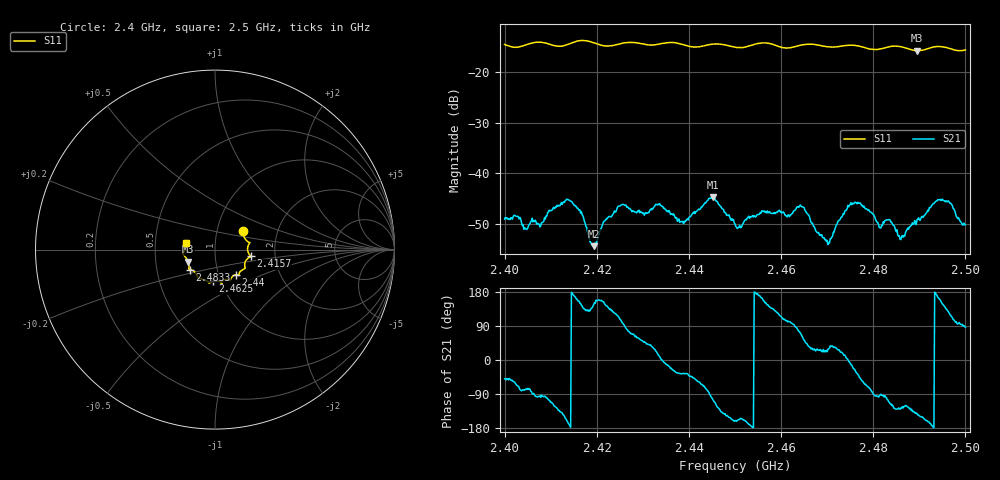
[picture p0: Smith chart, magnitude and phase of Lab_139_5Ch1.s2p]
# Hz S RI R 50
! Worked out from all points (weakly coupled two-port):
!   601 points, 2.4 GHz to 2.5 GHz, reference 50 ohm
!   highest |S21| = -44.72 dB at 2.4452 GHz (marker M1); lowest = -54.4 dB at 2.4193 GHz (marker M2)
!   lowest |S11| = -15.7 dB at 2.4895 GHz (marker M3), VSWR 1.39, Z = 36.7 - j5.09 ohm
!   |S11| at or under -10 dB: start of sweep to end of sweep
!   S12 and S22 are empty: the file has one direction only
!   S11 on the Smith chart (normalised r, x): 2.4 GHz: 1.33, +0.29; 2.4157 GHz: 1.49, -0.12; 2.44 GHz: 1.20, -0.35; 2.4625 GHz: 0.92, -0.34; 2.4833 GHz: 0.74, -0.17; 2.5 GHz: 0.72, +0.06
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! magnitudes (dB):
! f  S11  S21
! 2.4 GHz  -14.5  -49.1
! 2.4047 GHz  -14.6  -51.1
! 2.4133 GHz  -14.6  -45.3
! 2.4157 GHz  -13.8  -46.9
! 2.4167 GHz  -13.7  -47.6
! 2.4193 GHz  -14.1  -54.4
! 2.425 GHz  -14.3  -46.5
! 2.4333 GHz  -14.4  -46.1
! 2.44 GHz  -14.8  -48.8
! 2.4452 GHz  -14.4  -44.7
! 2.45 GHz  -15.0  -50.1
! 2.4625 GHz  -15.0  -48.0
! 2.4645 GHz  -14.6  -46.6
! 2.4667 GHz  -14.4  -49.9
! 2.47 GHz  -14.9  -53.3
! 2.4757 GHz  -14.6  -46.0
! 2.4815 GHz  -15.4  -50.8
! 2.4833 GHz  -15.0  -49.2
! 2.486 GHz  -14.9  -53.1
! 2.4895 GHz  -15.7  -49.2
! 2.4945 GHz  -14.9  -45.2
! 2.5 GHz  -15.6  -50.2
